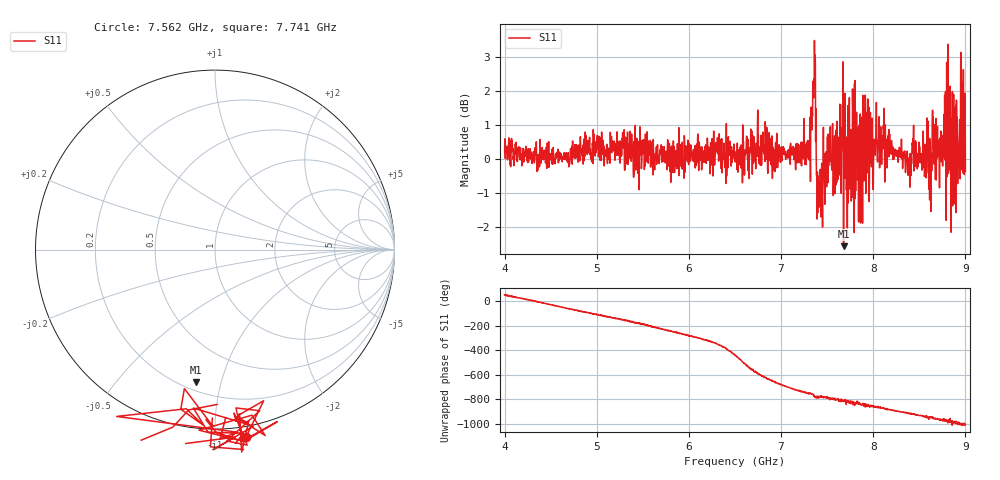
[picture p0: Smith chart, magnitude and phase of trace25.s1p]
! Created with skrf 1.8.0 (http://scikit-rf.org).
# Hz S RI R 50.0
!freq ReS11 ImS11
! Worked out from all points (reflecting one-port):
!   1601 points, 4 GHz to 9 GHz, reference 50 ohm
!   lowest |S11| = -2.6 dB at 7.678 GHz (marker M1), VSWR 6.86, Z = 12.6 - j41.9 ohm
!   phase of S11 starts at 49 deg and turns -1057 deg over the sweep
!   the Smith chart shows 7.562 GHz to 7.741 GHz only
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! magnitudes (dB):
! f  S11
! 4 GHz  0.2
! 4.625 GHz  -0.1
! 5.25 GHz  0.1
! 5.875 GHz  0.5
! 6.5 GHz  0.0
! 7.125 GHz  0.2
! 7.294 GHz  0.2
! 7.347 GHz  2.3
! 7.369 GHz  3.1
! 7.409 GHz  -1.4
! 7.512 GHz  0.7
! 7.609 GHz  -0.2
! 7.65 GHz  0.1
! 7.678 GHz  -2.6
! 7.703 GHz  0.2
! 7.75 GHz  -0.9
! 7.769 GHz  -1.1
! 7.8 GHz  -1.2
! 7.859 GHz  1.3
! 7.928 GHz  0.9
! 7.981 GHz  -0.2
! 8.097 GHz  0.3
! 8.375 GHz  0.0
! 8.612 GHz  -1.2
! 8.809 GHz  3.4
! 8.869 GHz  -0.3
! 8.972 GHz  0.5
! 9 GHz  -0.4
